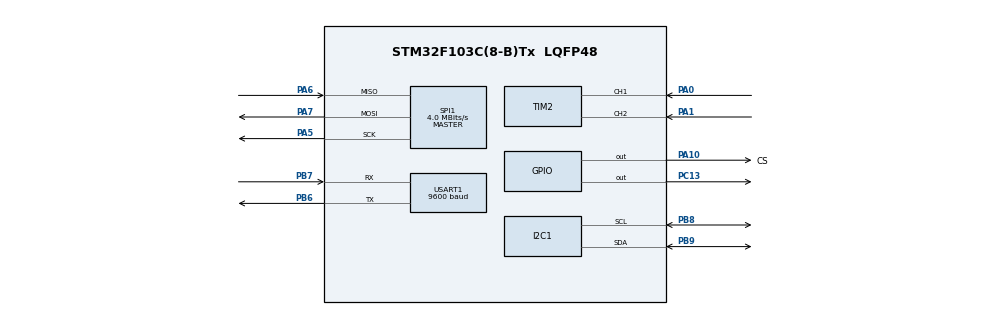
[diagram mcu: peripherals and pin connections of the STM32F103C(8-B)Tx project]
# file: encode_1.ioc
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Mcu.Family=STM32F1
Mcu.Name=STM32F103C(8-B)Tx
Mcu.Package=LQFP48
NVIC.PriorityGroup=NVIC_PRIORITYGROUP_4
PA0-WKUP.Signal=S_TIM2_CH1_ETR
PA1.Signal=S_TIM2_CH2
PA10.GPIO_Label=CS
PA10.PinState=GPIO_PIN_SET
PA10.Signal=GPIO_Output
PA13.Mode=Serial_Wire
PA13.Signal=SYS_JTMS-SWDIO
PA14.Mode=Serial_Wire
PA14.Signal=SYS_JTCK-SWCLK
PA5.Mode=Full_Duplex_Master
PA5.Signal=SPI1_SCK
PA6.Mode=Full_Duplex_Master
PA6.Signal=SPI1_MISO
PA7.Mode=Full_Duplex_Master
PA7.Signal=SPI1_MOSI
PB6.Mode=Asynchronous
PB6.Signal=USART1_TX
PB7.Mode=Asynchronous
PB7.Signal=USART1_RX
PB8.Mode=I2C
PB8.Signal=I2C1_SCL
PB9.Mode=I2C
PB9.Signal=I2C1_SDA
PC13-TAMPER-RTC.Signal=GPIO_Output
PD0-OSC_IN.Mode=HSE-External-Oscillator
PD0-OSC_IN.Signal=RCC_OSC_IN
PD1-OSC_OUT.Mode=HSE-External-Oscillator
PD1-OSC_OUT.Signal=RCC_OSC_OUT
ProjectManager.HeapSize=0x200
ProjectManager.StackSize=0x400
ProjectManager.TargetToolchain=MDK-ARM V5.32
RCC.APB1Freq_Value=8000000
RCC.APB2Freq_Value=8000000
SH.S_TIM2_CH1_ETR.0=TIM2_CH1,Encoder_Interface
SH.S_TIM2_CH2.0=TIM2_CH2,Encoder_Interface
SPI1.CalculateBaudRate=4.0 MBits/s
SPI1.Direction=SPI_DIRECTION_2LINES
SPI1.Mode=SPI_MODE_MASTER
SPI1.VirtualType=VM_MASTER
TIM2.EncoderMode=TIM_ENCODERMODE_TI12
USART1.BaudRate=9600
USART1.VirtualMode=VM_ASYNC
board=custom

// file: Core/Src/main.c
/* USER CODE BEGIN Header */
/**
  ******************************************************************************
  * @file           : main.c
  * @brief          : 多传感器采集系统主程序
  * @note            外设列表:
  *                  - OLED SSD1306 (I2C1, 0x3C)   : 分页显示传感器数据
  *                  - MPU6xxx x2  (I2C1, 0x68/0x69): 6 轴姿态传感器
  *                  - W25Qxx Flash (SPI1)          : 断电保存页码和参数
  *                  - 旋转编码器   (TIM2 ENCODER)   : 翻页操作
  *                  - JDY-3x 蓝牙 (UART1, 9600)     : 数据透传到手机
  *                  - PC13 LED     (GPIO)           : 心跳指示灯
  ******************************************************************************
  * @attention
  *
  * Copyright (c) 2026 STMicroelectronics.
  * All rights reserved.
  *
  * This software is licensed under terms that can be found in the LICENSE file
  * in the root directory of this software component.
  * If no LICENSE file comes with this software, it is provided AS-IS.
  *
  ******************************************************************************
  */
/* USER CODE END Header */
#include "main.h"

/* USER CODE BEGIN Includes */

#include "ssd1306.h"    /* OLED 128x64 I2C 显示驱动 */
#include "encode.h"     /* 旋转编码器驱动 (TIM2) */
#include "w25qxx.h"     /* W25Qxx SPI Flash 驱动 */
#include "mpu6050.h"    /* MPU6xxx 六轴传感器驱动 */
#include "sgp30.h"      /* SGP30 空气质量传感器驱动 */
#include "warm_damp.h"  /* AHT20+BMP280 温湿压一体化传感器驱动 */
#include "jdy31.h"      /* JDY-3x 蓝牙模块驱动 */
#include <stdio.h>      /* sprintf 格式化输出 */

/* USER CODE END Includes */

/** @brief I2C1 句柄: OLED + MPUx2 + SGP30 + AHT20/BMP280 共享总线 */
I2C_HandleTypeDef hi2c1;

/** @brief SPI1 句柄: W25Qxx Flash */
SPI_HandleTypeDef hspi1;

/** @brief TIM2 句柄: 编码器模式 (CH1=PA0, CH2=PA1) */
TIM_HandleTypeDef htim2;

/** @brief UART1 句柄: JDY-3x 蓝牙模块 (9600 8N1) */
UART_HandleTypeDef huart1;

void SystemClock_Config(void);
static void MX_GPIO_Init(void);
static void MX_I2C1_Init(void);
static void MX_SPI1_Init(void);
static void MX_TIM2_Init(void);
static void MX_USART1_UART_Init(void);

/* USER CODE BEGIN 0 */
int ax_m,ay_m,az_m,gx_m,gz_m,gy_m; /* MPU 物理单位换算值 (x1000 整数) */
/**
 * @brief  将 MPU6xxx 原始 ADC 值换算为物理单位 (整数放大)
 * @param  ax 加速度 X 轴原始值 (LSB)
 * @param  ay 加速度 Y 轴原始值 (LSB)
 * @param  az 加速度 Z 轴原始值 (LSB)
 * @param  gx 陀螺仪 X 轴原始值 (LSB)
 * @param  gy 陀螺仪 Y 轴原始值 (LSB)
 * @param  gz 陀螺仪 Z 轴原始值 (LSB)
 * @note   换算公式 (x1000 避免浮点):
 *         加速度: 原始值 * 1000 / 16384  (g*1000, 量程 ±2g)
 *         陀螺仪: 原始值 * 1000 / 131    (°/s*1000, 量程 ±250°/s)
 *         结果存入全局变量 ax_m/ay_m/az_m/gx_m/gy_m/gz_m
 */
void accum(int ax,int ay,int az,int gx,int gy,int gz){
      ax_m = (int32_t)ax * 1000 / 16384;
      ay_m = (int32_t)ay * 1000 / 16384;
      az_m = (int32_t)az * 1000 / 16384;      // 加速度灵敏度 16384

      gx_m = (int32_t)gx * 1000 / 131;
      gy_m = (int32_t)gy * 1000 / 131;
      gz_m = (int32_t)gz * 1000 / 131;        // 陀螺仪灵敏度 131
  }

/**
 * @brief  I2C 总线扫描: 检测 1~126 地址范围的所有设备并显示到 OLED
 * @note   用于调试时确认各传感器 I2C 地址是否正确
 *         7 位地址左移 1 位后通过 HAL_I2C_IsDeviceReady 握手
 */
void I2C_Scan(void)
{
    uint8_t a = 0;
    uint8_t x = 0, y = 2;
    OLED_Clear();
    OLED_ShowString(0, 0, "I2C scan:");

    for(a = 1; a < 127; a++)
    {
        if(HAL_I2C_IsDeviceReady(&hi2c1, (uint16_t)(a<<1), 1, 20) == HAL_OK)
        {
            char buf[12];
            sprintf(buf, "0x%02X", a);
            OLED_ShowString(x, y+0, buf);
            x += 42;
            if(x > 100) { x = 0; y++; }         /* 自动换行 */
        }
    }
}
/* USER CODE END 0 */

/**
  * @brief  程序入口, 初始化外设后进入数据采集循环
  * @retval int (永远不会返回)
  */
int main(void)
{

  /* MCU Configuration--------------------------------------------------------*/

  /* Reset of all peripherals, Initializes the Flash interface and the Systick. */
  HAL_Init();

  /* Configure the system clock */
  SystemClock_Config();

  /* Initialize all configured peripherals */
  MX_GPIO_Init();
  MX_I2C1_Init();
  MX_SPI1_Init();
  MX_TIM2_Init();
  MX_USART1_UART_Init();
  /* USER CODE BEGIN 2 */

  /** @brief 当前 OLED 显示页码 (0~3), 断电前保存到 Flash 地址 1 */
  static uint8_t page = 0;

  /* 从 Flash 恢复上次断电时的页码 */
  W25QXX_ReadByte(1,&page);//读取储存的计数值

  if(page>3) page = 0;      /* 容错: 非法页码归零 */

  HAL_Delay(500);           /* 等待各模块上电稳定 */

  OLED_Init();
	OLED_Clear();
  JDY31_SendAT("AT");   // 测试模块是否响应（可在串口助手看回显）
	W25QXX_Init();            /* SPI Flash 初始化 (读 JEDEC ID) */
	Encode_Init();            /* 编码器模式启动 */

  /* 检测 I2C 总线上的 MPU 模块 (0x68 AD0=0 / 0x69 AD0=1) */
  uint8_t ok1 = MPU6050_Detect(0x68);
  uint8_t ok2 = MPU6050_Detect(0x69);

  if(ok1) MPU6050_Init(0x68);    /* 模块存在则唤醒 */
  if(ok2) MPU6050_Init(0x69);    /* 模块存在则唤醒 */

  /* 检测并初始化 SGP30 空气质量传感器
   * (注: 调用的是 sgp30.h 提供的标准接口; sgp30.c 内已换为成熟驱动实现,
   *  本处调用方式保持不变) */
  OLED_ShowString(0, 2, "Loading...   ");      /* 上电稳定期间提示加载中 */
  HAL_Delay(2000);                       /* 等待: SGP30 上电需约 2s 内部启动/热稳定,
                                          *   过早发命令会无应答导致 FAIL */
  OLED_ShowString(0, 2, "             ");      /* 清除加载提示, 进入正常显示 */

  uint8_t sgp30_ok = SGP30_Detect();

  if(sgp30_ok == 1) SGP30_Init();

  /* 检测并初始化 AHT20+BMP280 温湿压传感器 */
  uint8_t wd_ok = WarmDamp_Detect();

  if(wd_ok) WarmDamp_Init();

	static uint8_t last_val = 0xFF;

	uint8_t saved = 0;

	/* 从 Flash 地址 0 恢复编码器上次保存的累计值 */
	W25QXX_ReadByte(0,&saved);

	Encode_SetValue(saved);       /* 恢复编码器初始值 */
  /* USER CODE END 2 */

  /* Infinite loop */
  /* USER CODE BEGIN WHILE */

  char line[22];                  /* OLED 行缓冲区 */

  int16_t ax, ay, az, gx, gy, gz;/* MPU 6 轴原始 ADC 值 */

  float temp, hum, press;          /* AHT20+BMP280: 温度/湿度/气压 */
  uint16_t eco2, tvoc;             /* SGP30: eCO2/TVOC 浓度 */

  while (1)                        /* ---- 主循环: 周期性采集与显示 ---- */
  {
      HAL_GPIO_TogglePin(GPIOC, GPIO_PIN_13);//翻转电平指示代码进入循环正常工作

      /* 检测编码器是否旋动 (翻页触发) */
      if(Encode_Moved()){
        OLED_Clear();
        page = Encode_ReadDelta();
      }
      switch(page){
          case 0:
                /* OLED 第 0 行: 显示当前页码和模块状态 */
                sprintf(line, "MP1:%s",
                        ok1 ? "OK" : "FAIL");//使用sprintf和数组打印初始化信息
                OLED_ShowString(0, 0, line);

                /* 若模块在线, 读取 6 轴数据; 否则跳过本次采集 */
                if(ok1){
                  MPU6050_ReadAccel(0x68, &ax, &ay, &az, &gx, &gy, &gz);
                }else break;

                accum(ax,ay,az,gx,gy,gz);//处理mpu数据

                char bt_buf[64];
                sprintf(bt_buf, "AX:%d AY:%d AZ:%d GX:%d GY:%d GZ:%d\r\n",
                  ax_m, ay_m, az_m, gx_m, gy_m, gz_m);
                JDY31_SendString(bt_buf);/* 通过蓝牙透传发送传感器数据到手机 */

                /* OLED 第 1~3 行: 显示加速度和陀螺仪数据 */
                sprintf(line, "AX:%-6d GX:%-6d", ax_m, gx_m);

                OLED_ShowString(0, 1, line);

                sprintf(line, "AY:%-6d GY:%-6d", ay_m, gy_m);

                OLED_ShowString(0, 2, line);

                sprintf(line, "AZ:%-6d GZ:%-6d", az_m, gz_m);

                OLED_ShowString(0, 3, line);
                break;
          case 1:
                /* AHT20+BMP280 温湿压页面 (第4页) */
                if(wd_ok){
                  WarmDamp_Read(&temp, &hum, &press);   /* 采集温湿压 */
                  sprintf(line, "T:%.1fC H:%.1f%%", temp, hum);
                  OLED_ShowString(0, 0, line);
                  sprintf(line, "P:%.0fPa", press);
                  OLED_ShowString(0, 1, line);
                  //sprintf(line, "STATUS:OK");
                  //OLED_ShowString(0, 2, line);
                }else{
                  OLED_ShowString(0, 0, "Sensor: FAIL");
                }
                break;
          case 2:
                /* SGP30 空气质量页面 (第3页) */
                if(sgp30_ok){
                  SGP30_Read(&eco2, &tvoc);
                  sprintf(line, "eCO2:%uppm", eco2);
                  OLED_ShowString(0, 0, line);
                  sprintf(line, "TVOC:%uppb", tvoc);
                  OLED_ShowString(0, 1, line);
                }else{
                  /* 0: 地址无应答 → 硬件/供电/接线/上拉问题 */
                  OLED_ShowString(0, 0, "SGP30: FAIL ");
                  OLED_ShowString(0, 1, "HW: NO ACK");
                }
                break;
        }

    /* USER CODE END WHILE */

  }
}

void SystemClock_Config(void)
{
  RCC_OscInitTypeDef RCC_OscInitStruct = {0};
  RCC_ClkInitTypeDef RCC_ClkInitStruct = {0};

  /** Initializes the RCC Oscillators according to the specified parameters
  * in the RCC_OscInitTypeDef structure.
  */
  RCC_OscInitStruct.OscillatorType = RCC_OSCILLATORTYPE_HSI;
  RCC_OscInitStruct.HSIState = RCC_HSI_ON;
  RCC_OscInitStruct.HSICalibrationValue = RCC_HSICALIBRATION_DEFAULT;
  RCC_OscInitStruct.PLL.PLLState = RCC_PLL_NONE;
  if (HAL_RCC_OscConfig(&RCC_OscInitStruct) != HAL_OK)
  {
    Error_Handler();
  }

  /** Initializes the CPU, AHB and APB buses clocks
  */
  RCC_ClkInitStruct.ClockType = RCC_CLOCKTYPE_HCLK|RCC_CLOCKTYPE_SYSCLK
                              |RCC_CLOCKTYPE_PCLK1|RCC_CLOCKTYPE_PCLK2;
  RCC_ClkInitStruct.SYSCLKSource = RCC_SYSCLKSOURCE_HSI;
  RCC_ClkInitStruct.AHBCLKDivider = RCC_SYSCLK_DIV1;
  RCC_ClkInitStruct.APB1CLKDivider = RCC_HCLK_DIV1;
  RCC_ClkInitStruct.APB2CLKDivider = RCC_HCLK_DIV1;

  if (HAL_RCC_ClockConfig(&RCC_ClkInitStruct, FLASH_LATENCY_0) != HAL_OK)
  {
    Error_Handler();
  }
}

static void MX_I2C1_Init(void)
{

  hi2c1.Instance = I2C1;
  hi2c1.Init.ClockSpeed = 100000;
  hi2c1.Init.DutyCycle = I2C_DUTYCYCLE_2;
  hi2c1.Init.OwnAddress1 = 0;
  hi2c1.Init.AddressingMode = I2C_ADDRESSINGMODE_7BIT;
  hi2c1.Init.DualAddressMode = I2C_DUALADDRESS_DISABLE;
  hi2c1.Init.OwnAddress2 = 0;
  hi2c1.Init.GeneralCallMode = I2C_GENERALCALL_DISABLE;
  hi2c1.Init.NoStretchMode = I2C_NOSTRETCH_DISABLE;
  if (HAL_I2C_Init(&hi2c1) != HAL_OK)
  {
    Error_Handler();
  }

}

static void MX_SPI1_Init(void)
{

  /* SPI1 parameter configuration*/
  hspi1.Instance = SPI1;
  hspi1.Init.Mode = SPI_MODE_MASTER;
  hspi1.Init.Direction = SPI_DIRECTION_2LINES;
  hspi1.Init.DataSize = SPI_DATASIZE_8BIT;
  hspi1.Init.CLKPolarity = SPI_POLARITY_LOW;
  hspi1.Init.CLKPhase = SPI_PHASE_1EDGE;
  hspi1.Init.NSS = SPI_NSS_SOFT;
  hspi1.Init.BaudRatePrescaler = SPI_BAUDRATEPRESCALER_8;
  hspi1.Init.FirstBit = SPI_FIRSTBIT_MSB;
  hspi1.Init.TIMode = SPI_TIMODE_DISABLE;
  hspi1.Init.CRCCalculation = SPI_CRCCALCULATION_DISABLE;
  hspi1.Init.CRCPolynomial = 10;
  if (HAL_SPI_Init(&hspi1) != HAL_OK)
  {
    Error_Handler();
  }

}

static void MX_TIM2_Init(void)
{

  TIM_Encoder_InitTypeDef sConfig = {0};
  TIM_MasterConfigTypeDef sMasterConfig = {0};

  htim2.Instance = TIM2;
  htim2.Init.Prescaler = 0;
  htim2.Init.CounterMode = TIM_COUNTERMODE_UP;
  htim2.Init.Period = 65535;
  htim2.Init.ClockDivision = TIM_CLOCKDIVISION_DIV1;
  htim2.Init.AutoReloadPreload = TIM_AUTORELOAD_PRELOAD_DISABLE;
  sConfig.EncoderMode = TIM_ENCODERMODE_TI12;
  sConfig.IC1Polarity = TIM_ICPOLARITY_RISING;
  sConfig.IC1Selection = TIM_ICSELECTION_DIRECTTI;
  sConfig.IC1Prescaler = TIM_ICPSC_DIV1;
  sConfig.IC1Filter = 0;
  sConfig.IC2Polarity = TIM_ICPOLARITY_RISING;
  sConfig.IC2Selection = TIM_ICSELECTION_DIRECTTI;
  sConfig.IC2Prescaler = TIM_ICPSC_DIV1;
  sConfig.IC2Filter = 0;
  if (HAL_TIM_Encoder_Init(&htim2, &sConfig) != HAL_OK)
  {
    Error_Handler();
  }
  sMasterConfig.MasterOutputTrigger = TIM_TRGO_RESET;
  sMasterConfig.MasterSlaveMode = TIM_MASTERSLAVEMODE_DISABLE;
  if (HAL_TIMEx_MasterConfigSynchronization(&htim2, &sMasterConfig) != HAL_OK)
  {
    Error_Handler();
  }

}

static void MX_USART1_UART_Init(void)
{

  huart1.Instance = USART1;
  huart1.Init.BaudRate = 9600;
  huart1.Init.WordLength = UART_WORDLENGTH_8B;
  huart1.Init.StopBits = UART_STOPBITS_1;
  huart1.Init.Parity = UART_PARITY_NONE;
  huart1.Init.Mode = UART_MODE_TX_RX;
  huart1.Init.HwFlowCtl = UART_HWCONTROL_NONE;
  huart1.Init.OverSampling = UART_OVERSAMPLING_16;
  if (HAL_UART_Init(&huart1) != HAL_OK)
  {
    Error_Handler();
  }

}

static void MX_GPIO_Init(void)
{
  GPIO_InitTypeDef GPIO_InitStruct = {0};

  /* GPIO Ports Clock Enable */
  __HAL_RCC_GPIOC_CLK_ENABLE();
  __HAL_RCC_GPIOD_CLK_ENABLE();
  __HAL_RCC_GPIOA_CLK_ENABLE();
  __HAL_RCC_GPIOB_CLK_ENABLE();

  /*Configure GPIO pin Output Level */
  HAL_GPIO_WritePin(GPIOC, GPIO_PIN_13, GPIO_PIN_RESET);

  /*Configure GPIO pin Output Level */
  HAL_GPIO_WritePin(GPIOA, GPIO_PIN_10, GPIO_PIN_RESET);

  /*Configure GPIO pin : PC13 */
  GPIO_InitStruct.Pin = GPIO_PIN_13;
  GPIO_InitStruct.Mode = GPIO_MODE_OUTPUT_PP;
  GPIO_InitStruct.Pull = GPIO_NOPULL;
  GPIO_InitStruct.Speed = GPIO_SPEED_FREQ_LOW;
  HAL_GPIO_Init(GPIOC, &GPIO_InitStruct);

  /*Configure GPIO pin : PA10 */
  GPIO_InitStruct.Pin = GPIO_PIN_10;
  GPIO_InitStruct.Mode = GPIO_MODE_OUTPUT_PP;
  GPIO_InitStruct.Pull = GPIO_NOPULL;
  GPIO_InitStruct.Speed = GPIO_SPEED_FREQ_LOW;
  HAL_GPIO_Init(GPIOA, &GPIO_InitStruct);

}

void Error_Handler(void)
{
  __disable_irq();
  while (1)
  {
  }
}
